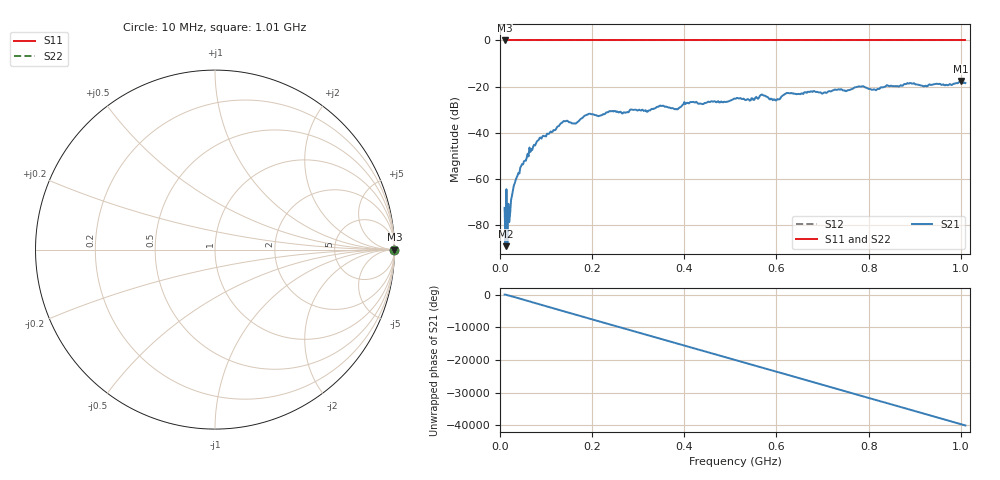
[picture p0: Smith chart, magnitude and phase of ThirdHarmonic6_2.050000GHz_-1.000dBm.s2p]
! 8/17/2025 12:34:48 AM
! C:\ANRITSUVNA\TEMP\TEMP.S2P
! CHANNEL.1
! TR.MEASUREMENT
! RAW.DATA
! RF.CORRECTION.OFF
! AVERAGING.OFF
! IF.BANDWIDTH: 5KHZ
! SWEEPTYPE:  FREQ.SWEEP(Linear)
! Reference Plane Port Info
! PORT:  PORT1  PORT2
! DISTANCE:  0  m  0  m
! TIME:  0  s  0  s
! PHASE.OFFSET:  0  deg.  0  deg.
! LOSS:  0  dB  0  dB
! REF.LOSS:  0  dB  0  dB
! REF.FREQ:  0  Hz  0  Hz
! Power Info
! POWER:  -20  dBm  -20  dBm
! EFF.POWER:  -20  dBm  -20  dBm
! SOURCE.ATTEN:  0  dB  0  dB
! TEST.ATTEN:  0  dB  0  dB
# GHZ S RI R 50.0
! FREQ.GHZ  S11RE  S11IM  S21RE  S21IM  S12RE  S12IM  S22RE  S22IM
!; PortSelection: Port_12
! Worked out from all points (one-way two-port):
!   501 points, 10 MHz to 1.01 GHz, reference 50 ohm
!   highest |S21| = -17.58 dB at 1 GHz (marker M1); lowest = -89.3 dB at 12 MHz (marker M2)
!   lowest |S11| = 0.0 dB at 10 MHz (marker M3)
!   |S11| at or under -10 dB: nowhere
!   |S22| runs from 0.0 to 0.0 dB; largest |S21 - S12| = 1.1
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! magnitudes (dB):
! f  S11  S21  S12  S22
! 10 MHz  0.0  -72.7  0.0  0.0
! 12 MHz  0.0  -89.3  0.0  0.0
! 20 MHz  0.0  -78.9  0.0  0.0
! 32 MHz  0.0  -62.0  0.0  0.0
! 48 MHz  0.0  -53.7  0.0  0.0
! 84 MHz  0.0  -43.2  0.0  0.0
! 136 MHz  0.0  -35.4  0.0  0.0
! 162 MHz  0.0  -36.0  0.0  0.0
! 178 MHz  0.0  -33.8  0.0  0.0
! 240 MHz  0.0  -30.7  0.0  0.0
! 322 MHz  0.0  -30.5  0.0  0.0
! 344 MHz  0.0  -28.8  0.0  0.0
! 382 MHz  0.0  -29.7  0.0  0.0
! 416 MHz  0.0  -26.8  0.0  0.0
! 510 MHz  0.0  -25.3  0.0  0.0
! 570 MHz  0.0  -23.6  0.0  0.0
! 602 MHz  0.0  -25.5  0.0  0.0
! 622 MHz  0.0  -22.8  0.0  0.0
! 678 MHz  0.0  -22.4  0.0  0.0
! 844 MHz  0.0  -19.9  0.0  0.0
! 1 GHz  0.0  -17.6  0.0  0.0
! 1.01 GHz  0.0  -18.5  0.0  0.0
